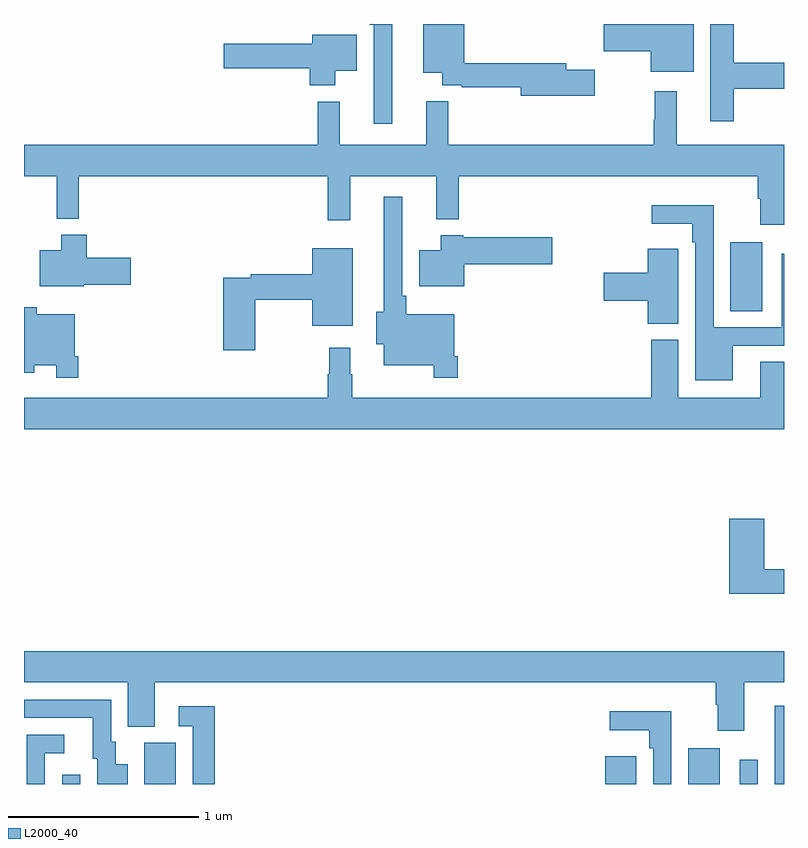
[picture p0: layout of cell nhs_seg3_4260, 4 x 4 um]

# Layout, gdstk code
import gdstk
lib = gdstk.Library(unit=1e-6, precision=1e-09)
def R(c, l, rs):  # rectangles x0, y0, x1, y1
    for r in rs: c.add(gdstk.rectangle(r[:2], r[2:], *l))
def P(c, l, *ps):  # polygons
    for p in ps: c.add(gdstk.Polygon(p, *l))
L2000_40 = (2000, 40)

nhs_seg3_4260 = lib.new_cell('nhs_seg3_4260')
R(nhs_seg3_4260, L2000_40, [(337.2,680.4,337.296,680.449), (337.634,680.4,337.798,680.616), (340.058,680.4,340.222,680.545), (340.496,680.4,340.663,680.587), (340.767,680.4,340.863,680.527), (340.952,680.4,341,680.812), (340.718,682.888,340.885,683.251)])
P(nhs_seg3_4260, L2000_40, [(340.003,684.158),(339.853,684.158),(339.853,684.194),(339.316,684.194),(339.316,684.4),(339.101,684.4),(339.101,684.143),(339.2,684.143),(339.2,684.078),(339.304,684.078),(339.304,684.066),(339.614,684.066),(339.614,684.023),(340.003,684.023)],
  [(340.735,684.058),(341,684.058),(341,684.195),(340.735,684.195),(340.735,684.4),(340.613,684.4),(340.613,683.889),(340.735,683.889)],
  [(338.938,684.4),(338.821,684.4),(338.821,684.395),(338.841,684.395),(338.841,683.874),(338.938,683.874)],
  [(340.525,684.4),(340.302,684.4),(340.302,684.398),(340.05,684.398),(340.05,684.256),(340.298,684.256),(340.298,684.149),(340.525,684.149)],
  [(338.638,684.155),(338.752,684.155),(338.752,684.343),(338.516,684.343),(338.516,684.295),(338.052,684.295),(338.052,684.166),(338.504,684.166),(338.504,684.077),(338.638,684.077)],
  [(341,683.764),(340.435,683.764),(340.435,684.046),(340.321,684.046),(340.321,683.897),(340.314,683.897),(340.314,683.764),(339.233,683.764),(339.233,683.993),(339.116,683.993),(339.116,683.764),(338.663,683.764),(338.663,683.992),(338.545,683.992),(338.545,683.764),(337,683.764),(337,683.6),(337.172,683.6),(337.172,683.375),(337.289,683.375),(337.289,683.6),(338.599,683.6),(338.599,683.367),(338.717,683.367),(338.717,683.6),(339.17,683.6),(339.17,683.372),(339.287,683.372),(339.287,683.6),(340.862,683.6),(340.862,683.48),(340.874,683.48),(340.874,683.343),(341,683.343)],
  [(339.284,682.651),(339.264,682.651),(339.264,682.873),(339.011,682.873),(339.011,682.969),(338.991,682.969),(338.991,683.491),(338.894,683.491),(338.894,682.886),(338.855,682.886),(338.855,682.715),(338.894,682.715),(338.894,682.604),(339.156,682.604),(339.156,682.539),(339.284,682.539)],
  [(340.729,682.707),(341,682.707),(341,683.191),(340.989,683.191),(340.989,682.803),(340.629,682.803),(340.629,683.446),(340.305,683.446),(340.305,683.348),(340.517,683.348),(340.517,683.252),(340.533,683.252),(340.533,682.526),(340.729,682.526)],
  [(337.314,683.027),(337.561,683.027),(337.561,683.169),(337.331,683.169),(337.331,683.29),(337.196,683.29),(337.196,683.209),(337.082,683.209),(337.082,683.021),(337.314,683.021)],
  [(339.316,683.135),(339.781,683.135),(339.781,683.277),(339.312,683.277),(339.312,683.287),(339.194,683.287),(339.194,683.209),(339.08,683.209),(339.08,683.021),(339.316,683.021)],
  [(338.218,682.948),(338.516,682.948),(338.516,682.811),(338.731,682.811),(338.731,683.221),(338.516,683.221),(338.516,683.084),(338.194,683.084),(338.194,683.064),(338.048,683.064),(338.048,682.683),(338.218,682.683)],
  [(340.444,683.105),(340.443,683.105),(340.443,683.218),(340.283,683.218),(340.283,683.09),(340.05,683.09),(340.05,682.943),(340.283,682.943),(340.283,682.822),(340.444,682.822)],
  [(337.286,682.651),(337.266,682.651),(337.266,682.873),(337.067,682.873),(337.067,682.909),(337,682.909),(337,682.565),(337.054,682.565),(337.054,682.604),(337.17,682.604),(337.17,682.539),(337.286,682.539)],
  [(341,682.622),(340.874,682.622),(340.874,682.432),(340.444,682.432),(340.444,682.737),(340.301,682.737),(340.301,682.432),(338.728,682.432),(338.728,682.556),(338.716,682.556),(338.716,682.696),(338.607,682.696),(338.607,682.556),(338.599,682.556),(338.599,682.432),(337,682.432),(337,682.268),(341,682.268)],
  [(341,681.53),(340.895,681.53),(340.895,681.796),(340.712,681.796),(340.712,681.402),(341,681.402)],
  [(340.792,680.936),(341,680.936),(341,681.1),(337,681.1),(337,680.936),(337.547,680.936),(337.547,680.701),(337.687,680.701),(337.687,680.936),(340.64,680.936),(340.64,680.816),(340.652,680.816),(340.652,680.679),(340.792,680.679)],
  [(337.546,680.503),(337.483,680.503),(337.483,680.622),(337.458,680.622),(337.458,680.844),(337,680.844),(337,680.748),(337.361,680.748),(337.361,680.532),(337.385,680.532),(337.385,680.4),(337.546,680.4)],
  [(338.003,680.809),(337.815,680.809),(337.815,680.703),(337.887,680.703),(337.887,680.4),(338.003,680.4)],
  [(340.407,680.782),(340.083,680.782),(340.083,680.684),(340.291,680.684),(340.291,680.588),(340.311,680.588),(340.311,680.4),(340.407,680.4)],
  [(337.11,680.562),(337.213,680.562),(337.213,680.658),(337.014,680.658),(337.014,680.4),(337.11,680.4)])

lib.write_gds('nhs_seg3_4260.gds')
